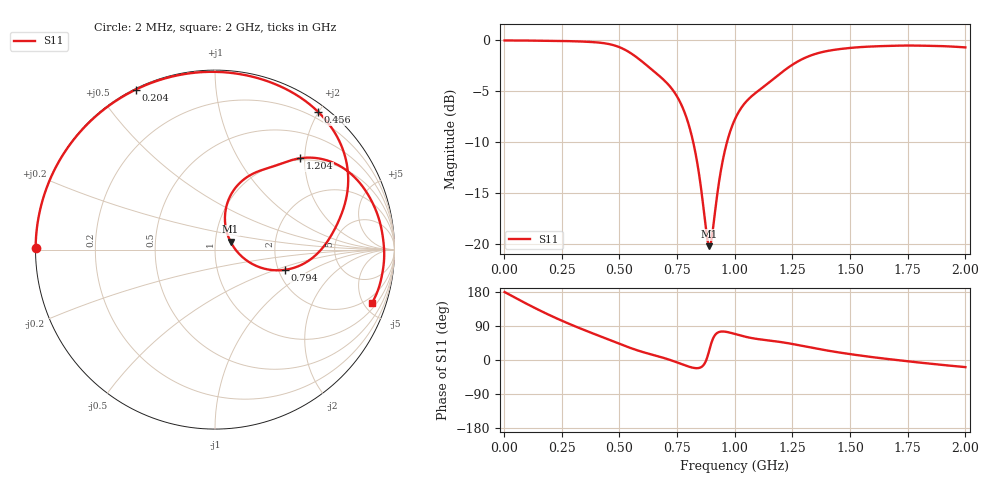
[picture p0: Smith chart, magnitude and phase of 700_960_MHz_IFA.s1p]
! TOUCHSTONE file generated by CST MICROWAVE STUDIO
! Date and time: Wed Mar 31 09:41:28 2021
! Project name: 700_960_MHz_IFA_première_version.cst
! Parameters = {n=5; b=3; a=0; L20007=15; C20006=2.1; L20005=15; C20004=6.366; L20003=14.34; C20002=3.969; L20001=3.542; L40004=15.92; C40003=5.736; L40002=9.923; C40001=1.417; L20004=15.92; C20003=5.736; L20002=9.923; C20001=1.417; W=22; L=56.58; Wg=140; Lg=175}
! Header version: 2018
! Port assignment regex: !\s*Touchstone port\s*([0-9]+)\s*=\s*(CST MWS port|CST DS port)\s*([0-9]+|Zmin|Zmax)\s*\(\"(.*)\"\)(\s*mode\s*([0-9]+))?.*
! Touchstone port assignment:
! Touchstone port 1 = CST MWS port 1 ("")
# GHz S MA R 50
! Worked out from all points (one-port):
!   1000 points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, 2 MHz to 2 GHz, reference 50 ohm
!   lowest |S11| = -20.3 dB at 890 MHz (marker M1), VSWR 1.22, Z = 59.2 + j5.24 ohm
!   |S11| at or under -10 dB: 819.6 MHz to 966.4 MHz (146.8 MHz wide, 16.4 % of centre)
!   S11 on the Smith chart (normalised r, x): 2 MHz: 0.00, +0.01; 204 MHz: 0.00, +0.62; 456 MHz: 0.11, +1.99; 794 MHz: 2.17, -0.59; 1.204 GHz: 0.96, +1.91; 2 GHz: 1.40, -5.71
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0.002  0.9995 179.3
0.046  0.9993 164.9
0.092  0.9985 150.1
0.148  0.9967 132.7
0.204  0.9949 116.4
0.252  0.9933 103.2
0.3  0.9906 90.8
0.352  0.9857 78.0
0.456  0.9587 53.2
0.502  0.924 42.2
0.55  0.864 31.3
0.602  0.7807 20.9
0.692  0.6392 5.4
0.752  0.5243 -6.9
0.794  0.4057 -16.1
0.834  0.2623 -21.6
0.878  0.1108 2.4
0.89  0.09708 26.9
0.902  0.1103 51.1
0.95  0.2635 75.2
1.002  0.4122 68.5
1.06  0.5145 59.5
1.204  0.6966 47.0
1.252  0.7618 42.0
1.374  0.8734 27.9
1.502  0.9186 15.4
1.752  0.9436 -3.5
2  0.924 -18.8
